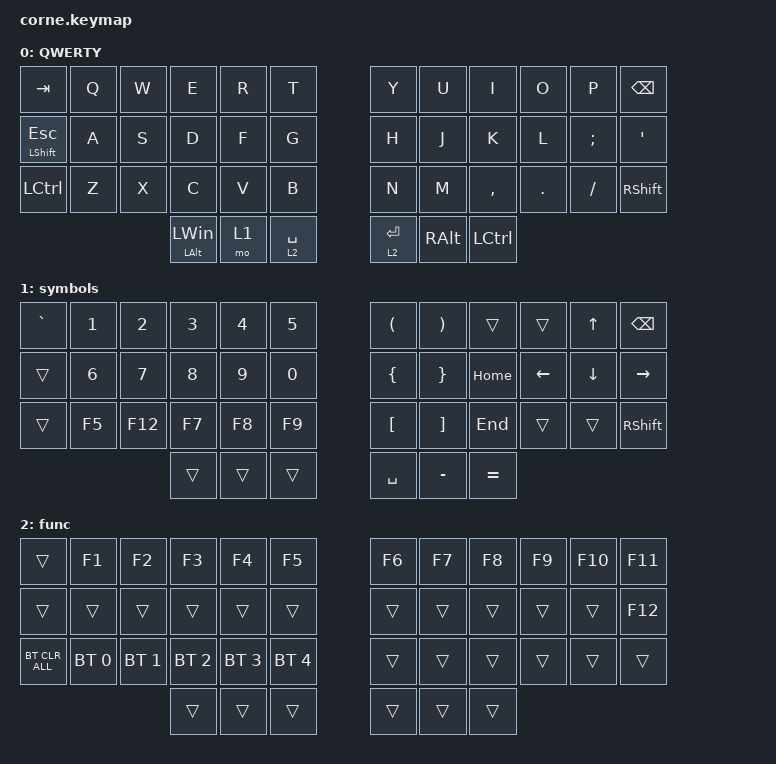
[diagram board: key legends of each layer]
/*
 * Copyright (c) 2020 The ZMK Contributors
 *
 * SPDX-License-Identifier: MIT
 */

#include <behaviors.dtsi>
#include <dt-bindings/zmk/bt.h>
#include <dt-bindings/zmk/keys.h>

/ {
    chosen {
        zmk,matrix_transform = &default_transform;

        // zmk,matrix_transform = &five_column_transform;
    };
};

/ {
    behaviors {
        td0: td0 {
            compatible = "zmk,behavior-tap-dance";
            label = "TD0";
            #binding-cells = <0>;
            bindings = <&kp LEFT_SHIFT>, <&kp CAPS>;
        };
    };

    keymap {
        compatible = "zmk,keymap";

        default_layer {
            display-name = "QWERTY";

            // --------------------------------------------------------------------------------
            // |  TAB |  Q  |  W  |  E  |  R  |  T  |   |  Y  |  U   |  I  |  O  |  P  | BKSP |
            // | CTRL |  A  |  S  |  D  |  F  |  G  |   |  H  |  J   |  K  |  L  |  ;  |  '   | 
            // | SHFT |  Z  |  X  |  C  |  V  |  B  |   |  N  |  M   |  ,  |  .  |  /  | ESC  |
            //                    | GUI | LWR | SPC |   | ENT | RSE  | ALT |

            bindings = <
&kp TAB             &kp Q  &kp W  &kp E                  &kp R  &kp T          &kp Y        &kp U     &kp I             &kp O    &kp P          &kp BSPC
&mt LEFT_SHIFT ESC  &kp A  &kp S  &kp D                  &kp F  &kp G          &kp H        &kp J     &kp K             &kp L    &kp SEMICOLON  &kp SQT
&kp LEFT_CONTROL    &kp Z  &kp X  &kp C                  &kp V  &kp B          &kp N        &kp M     &kp COMMA         &kp DOT  &kp FSLH       &kp RSHFT
                                  &mt LEFT_ALT LEFT_WIN  &mo 1  &lt 2 SPACE    &lt 2 ENTER  &kp RALT  &kp LEFT_CONTROL
            >;
        };

        symbols {
            bindings = <
&kp GRAVE  &kp N1  &kp N2   &kp N3  &kp N4  &kp N5    &kp LEFT_PARENTHESIS  &kp RIGHT_PARENTHESIS  &trans     &trans    &kp UP    &kp BACKSPACE
&trans     &kp N6  &kp N7   &kp N8  &kp N9  &kp N0    &kp LEFT_BRACE        &kp RIGHT_BRACE        &kp HOME   &kp LEFT  &kp DOWN  &kp RIGHT
&trans     &kp F5  &kp F12  &kp F7  &kp F8  &kp F9    &kp LBKT              &kp RBKT               &kp END    &trans    &trans    &kp RSHFT
                            &trans  &trans  &trans    &kp SPACE             &kp MINUS              &kp EQUAL
            >;
        };

        func {
            bindings = <
&trans          &kp F1        &kp F2        &kp F3        &kp F4        &kp F5          &kp F6  &kp F7  &kp F8  &kp F9  &kp F10  &kp F11
&trans          &trans        &trans        &trans        &trans        &trans          &trans  &trans  &trans  &trans  &trans   &kp F12
&bt BT_CLR_ALL  &bt BT_SEL 0  &bt BT_SEL 1  &bt BT_SEL 2  &bt BT_SEL 3  &bt BT_SEL 4    &trans  &trans  &trans  &trans  &trans   &trans
                                            &trans        &trans        &trans          &trans  &trans  &trans
            >;
        };
    };
};
